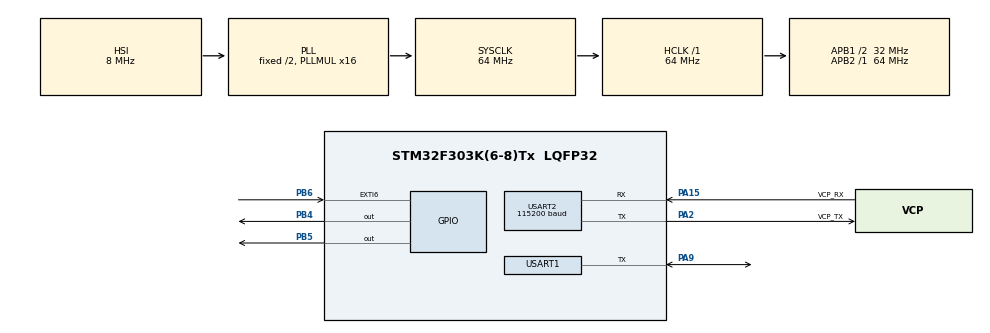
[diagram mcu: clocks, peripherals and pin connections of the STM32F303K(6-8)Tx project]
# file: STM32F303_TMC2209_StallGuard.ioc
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Mcu.Family=STM32F3
Mcu.Name=STM32F303K(6-8)Tx
Mcu.Package=LQFP32
NVIC.EXTI9_5_IRQn=true\:1\:0\:true\:false\:true\:true\:true\:true
NVIC.PriorityGroup=NVIC_PRIORITYGROUP_4
NVIC.TIM2_IRQn=true\:2\:0\:true\:false\:true\:true\:true\:true
NVIC.TIM3_IRQn=true\:3\:0\:true\:false\:true\:true\:true\:true
NVIC.USART2_IRQn=true\:0\:0\:false\:false\:true\:true\:true\:true
PA13.GPIO_Label=SWDIO
PA13.Mode=Serial_Wire
PA13.Signal=SYS_JTMS-SWDIO
PA14.GPIO_Label=SWCLK
PA14.Mode=Serial_Wire
PA14.Signal=SYS_JTCK-SWCLK
PA15.GPIO_Label=VCP_RX
PA15.Mode=Asynchronous
PA15.Signal=USART2_RX
PA2.GPIO_Label=VCP_TX
PA2.Mode=Asynchronous
PA2.Signal=USART2_TX
PA9.Mode=Half_duplex(single_wire_mode)
PA9.Signal=USART1_TX
PB4.Signal=GPIO_Output
PB5.Signal=GPIO_Output
PB6.GPIO_ModeDefaultEXTI=GPIO_MODE_IT_RISING_FALLING
PB6.Signal=GPXTI6
PF0\ /\ OSC_IN.GPIO_Label=MCO
PF0\ /\ OSC_IN.Signal=RCC_OSC_IN
ProjectManager.HeapSize=0x200
ProjectManager.StackSize=0x400
ProjectManager.TargetToolchain=STM32CubeIDE
RCC.AHBFreq_Value=64000000
RCC.APB1CLKDivider=RCC_HCLK_DIV2
RCC.APB1Freq_Value=32000000
RCC.APB1TimFreq_Value=64000000
RCC.APB2Freq_Value=64000000
RCC.APB2TimFreq_Value=64000000
RCC.CortexFreq_Value=64000000
RCC.HCLKFreq_Value=64000000
RCC.HSE_VALUE=8000000
RCC.HSI_VALUE=8000000
RCC.PLLMUL=RCC_PLL_MUL16
RCC.SYSCLKFreq_VALUE=64000000
RCC.SYSCLKSourceVirtual=RCC_SYSCLKSOURCE_PLLCLK
TIM2.AutoReloadPreload=TIM_AUTORELOAD_PRELOAD_ENABLE
TIM2.Period=500-1
TIM2.Prescaler=640-1
TIM3.Channel-Output\ Compare1\ No\ Output=TIM_CHANNEL_1
TIM3.Prescaler=640-1
USART1.BaudRate=115200
USART1.VirtualMode-Half_duplex(single_wire_mode)=VM_ASYNC
USART2.BaudRate=115200
USART2.VirtualMode-Asynchronous=VM_ASYNC
VP_TIM2_VS_ClockSourceINT.Mode=Internal
VP_TIM3_VS_ClockSourceINT.Mode=Internal
VP_TIM3_VS_no_output1.Mode=Output Compare1 No Output
board=NUCLEO-F303K8

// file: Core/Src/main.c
/* USER CODE BEGIN Header */
/**
  ******************************************************************************
  * @file           : main.c
  * @brief          : Main program body
  ******************************************************************************
  * @attention
  *
  * Copyright (c) 2022 STMicroelectronics.
  * All rights reserved.
  *
  * This software is licensed under terms that can be found in the LICENSE file
  * in the root directory of this software component.
  * If no LICENSE file comes with this software, it is provided AS-IS.
  *
  ******************************************************************************
  */
/* USER CODE END Header */
#include "main.h"

/* USER CODE BEGIN Includes */
#include <stdio.h>
#include "tmc/ic/TMC2209/TMC2209.h"
#include <math.h>

/* USER CODE END Includes */

/* USER CODE BEGIN PTD */
typedef struct {
	float acceleration;
	volatile unsigned int minStepInterval;
	void (*dirFunc)(int);
	void (*stepFunc)();

	uint8_t homing;
	unsigned int c0;
	volatile int stepPosition;

	volatile int dir; // 1 or -1
	volatile int dir_inv; //set 1 to reverse the dir

	volatile int pull_off; //set pull_off distance

	volatile int seeking_vel;
	volatile int homing_vel;

	volatile unsigned int totalSteps;

	volatile char movementDone;
	volatile unsigned int rampUpStepCount;
	volatile unsigned int n; // index
	volatile float d; // current interval length
	volatile unsigned long di; // d -> unsigned  di
	volatile unsigned int stepCount;

}stepperInfo;   //stepperInfo型の構造体にメンバを格納

/* USER CODE END PTD */

/* USER CODE BEGIN PD */
#define TMC2209_CRC(data, length) tmc_CRC8(data, length, 1)

//#define NUM_STEPPERS 1

/* USER CODE END PD */

 TIM_HandleTypeDef htim2;
TIM_HandleTypeDef htim3;

UART_HandleTypeDef huart1;
UART_HandleTypeDef huart2;

/* USER CODE BEGIN PV */
//static TMC2209TypeDef TMC2209; //TMC2209の設定などの定義
//static ConfigurationTypeDef *TMC2209_config; //TMC2209の設定
TMC2209TypeDef TMC2209; //TMC2209の設定などの定義
ConfigurationTypeDef TMC2209_config; //TMC2209の設定

volatile stepperInfo steppers[1];    //stepperInfo型の配列stepperにNUM_STEPPERSで定義した値を代入
uint8_t end_stop_state = 0;
uint8_t homing_flag = 0;

/* USER CODE END PV */

void SystemClock_Config(void);
static void MX_GPIO_Init(void);
static void MX_USART2_UART_Init(void);
static void MX_USART1_UART_Init(void);
static void MX_TIM3_Init(void);
static void MX_TIM2_Init(void);
/* USER CODE BEGIN PFP */
//static void periodicJob(uint32_t tick);
static uint8_t reset(void);
static uint8_t restore(void);
//static TMC2209TypeDef TMC2209;

/* USER CODE END PFP */

/* USER CODE BEGIN 0 */

/*void HAL_TIM_PeriodElapsedCallback(TIM_HandleTypeDef *htim)
{
    if (htim == &htim3){ //htim3に設定したタイマー割り込みの時間で発火する
        HAL_GPIO_TogglePin(GPIOB, GPIO_PIN_5);//ピンの出力を切り替え
    }
}*/
void tmc2209_readWriteArray(uint8_t channel, uint8_t *data, size_t writeLength, size_t readLength)
{
	//set your uart read write
	//UART_readWrite(channelToUART(channel), data, writeLength, readLength);
	HAL_HalfDuplex_EnableTransmitter(&huart1);
	HAL_UART_Transmit(&huart1, data, writeLength,3000);

	if(readLength > 0){
		HAL_HalfDuplex_EnableReceiver(&huart1);
		HAL_UART_Receive(&huart1, data, readLength, 3000);
	}
}

uint8_t tmc2209_CRC8(uint8_t *data, size_t length)
{
	return TMC2209_CRC(data, length);
}

static uint8_t reset()
{
	//StepDir_init(STEPDIR_PRECISION);
	//StepDir_setPins(0, Pins.STEP, Pins.DIR, Pins.DIAG);

	return tmc2209_reset(&TMC2209);
}

static uint8_t restore()
{
	return tmc2209_restore(&TMC2209);
}

void TMC2209_INIT()
{
	tmc_fillCRC8Table(0x07, true, 1);

	TMC2209_config.reset = reset;
	TMC2209_config.restore = restore;
	tmc2209_init(&TMC2209, 0, 0, &TMC2209_config, &tmc2209_defaultRegisterResetState[0]);

	//restore();
}

static inline TMC2209TypeDef *motorToIC(uint8_t motor)
{
	UNUSED(motor);

	return &TMC2209;
}

void HAL_GPIO_EXTI_Callback(uint16_t GPIO_Pin)
{
	//stepper 0 end stop senssor
	if(GPIO_Pin == GPIO_PIN_6 ){
		if(!HAL_GPIO_ReadPin(GPIOB, GPIO_PIN_6)){
			end_stop_state |= 1;
		}
		if(HAL_GPIO_ReadPin(GPIOB, GPIO_PIN_6)){
			end_stop_state &= ~1;
		}
	}
}

void Step0(){                                       //step pin
	//pull+

	HAL_GPIO_WritePin(GPIOB, GPIO_PIN_5, GPIO_PIN_RESET);
	HAL_GPIO_WritePin(GPIOB, GPIO_PIN_5, GPIO_PIN_SET);
}

void Dir0(int dir){
	HAL_GPIO_WritePin(GPIOB, GPIO_PIN_4, dir); //Dir0関数にdirピンを指定して格納
}

void resetStepperInfo(stepperInfo* si){    //resetStepperInfo関数に引数をstepperInfo構造隊にポイント型変数siとして与える
	si->n = 0;  //変数*siがメンバnにアクセス.した値に0を代入する
	si->d = 0;
	si->di = 0;
	si->stepCount = 0;
	si->rampUpStepCount = 0;
	si->totalSteps = 0;
	si->stepPosition = 0;
	si->movementDone = 0;
}

void resetStepper(volatile stepperInfo* si){    //resetStepper関数に引数をstepperInfo構造隊にポイント型変数siとして与える
	si->c0 = si->acceleration;      //変数*siがメンバc0にアクセス.した値に変数*siがメンバaccelerationにアクセス.した値を代入する
	si->d = si->c0;
	si->di = si->d;
	si->stepCount = 0;
	si->n = 0;
	si->rampUpStepCount = 0;
	si->movementDone = 0;
}

volatile uint8_t remainingSteppersFlag = 0; //remainingSteppersFlagをuint8_t型で定義し、初期化

void prepareAbsoluteMovement(int absolute_steps){   //prepareAbsoluteMovementで与えられたステップ数だけモータを回す(main文から）
	printf("absolute_steps:%d\r\n",absolute_steps);
	volatile stepperInfo* si = &steppers[0];	//steppers[0]のアドレスをstepperInfo* si に代入
	int steps = absolute_steps - si->stepPosition;	//目標値からstepPositionを引いた値（stepposition=毎ステップカウントされるdirの値)
	printf("steps:%d\r\n",steps);
	if(steps == 0){
					return;
				}
	si->dirFunc( steps < 0 ? 1 : 0);
	si->dir = steps > 0 ? 1:-1;
	//printf("prepareAbsoluteMovement\r\n");

	si->totalSteps = abs(steps);	//stepsの値をアブソリュートでtotalstepsに格納
	printf("steps:%d\r\n",si->totalSteps);

	resetStepper(si);
	printf("steps:%d\r\n",steps);
	remainingSteppersFlag |= (1 << 0);
}

volatile uint8_t nextStepperFlag = 0;

void setNextInterruptInterval(){
	unsigned int mind = 999999;

			if( (remainingSteppersFlag) && steppers[0].di < mind ){
				mind = steppers[0].di;
			}
		nextStepperFlag = 0;
			if( 1 && steppers[0].di == mind ){
				nextStepperFlag |= 1;
			}

			if (remainingSteppersFlag == 0){
			__HAL_TIM_SET_COMPARE(&htim3, TIM_CHANNEL_1, 65500);
			}

		__HAL_TIM_SET_COMPARE(&htim3, TIM_CHANNEL_1, mind);
		//printf("nownompare:%d\r\n",mind);

}

void currentcheck(){
	int32_t current_value = 0;
	int32_t DIAG_value = 0;
	int32_t tstep_value = 0;
	int32_t SGTHRS_value = 0;

//
//	tstep_value=TMC2209_FIELD_READ(&TMC2209, TMC2209_TSTEP, TMC2209_TSTEP_MASK, TMC2209_TSTEP_SHIFT);
//	printf("tstep: %ld\r\n", tstep_value);
//	tmc2209_periodicJob(&TMC2209, HAL_GetTick());

//	SGTHRS_value = tmc2209_readInt(&TMC2209, TMC2209_SGTHRS);
//	printf("SGTHRS: %d\r\n", SGTHRS_value);

	current_value=tmc2209_readInt(&TMC2209, TMC2209_SG_RESULT);	//保持トルクの設定
	printf("SG_RESULT : %ld\r\n", current_value);

//	current_value = 3;
//	TMC2209_FIELD_UPDATE(&TMC2209, TMC2209_GCONF, TMC2209_DIAG_MASK, TMC2209_DIAG_SHIFT,toff_value);
//	tmc2209_periodicJob(&TMC2209, HAL_GetTick());

//	DIAG_value=TMC2209_FIELD_READ(&TMC2209, TMC2209_GCONF, TMC2209_DIAG_MASK, TMC2209_DIAG_SHIFT);
//	printf("DIAG : %ld\r\n", DIAG_value);
//	tmc2209_periodicJob(&TMC2209, HAL_GetTick());

}

void HAL_TIM_OC_DelayElapsedCallback(TIM_HandleTypeDef *htim){      //指定したコンペアを超えた時発火
	//HAL_TIM_OC_Stop_IT(&htim3, TIM_CHANNEL_1);
	if(htim == &htim3){
	__HAL_TIM_SET_COMPARE(&htim3, TIM_CHANNEL_1, 65500);			//コンペアを65500にセット
				//nextStepperFlagが真でない(0なら)
		//printf("steppers:%ld \r\n",steppers[0].di);
		volatile stepperInfo* s = &steppers[0];
		if( (s->stepCount) < (s->totalSteps) ){		//1周ごとにカウントしたstepCountがabs(steps)より小さかったら==動作が終了するまで
			s->stepFunc();
			s->stepCount++;							//カウントし続ける
			s->stepPosition += s->dir;		//dir(+もしくはー(dirの向き）を加算してstepPositionに格納
			if ( (s->stepCount) >= (s->totalSteps) ){	//stepCountがtotalStepsを超えたとき
				s->movementDone = 1;	//movementDoneを1にする
				remainingSteppersFlag &= ~1;

			}
		}
		setNextInterruptInterval();
		__HAL_TIM_SET_COUNTER(&htim3, 0);

	}
}
void HAL_TIM_PeriodElapsedCallback(TIM_HandleTypeDef *htim)
{
    if (htim == &htim2){
//		currentcheck();

    }
}

void sensorStateInit(){							//割り込みリセット
	if( ! HAL_GPIO_ReadPin(GPIOB, GPIO_PIN_6)){	//割り込みピンが真でない(1でない=0なら)
		end_stop_state |= 1;					//end_stop_stateに左辺か右辺が1なら1を代入
	}
}

void runAndWait(){
	setNextInterruptInterval();
	while(remainingSteppersFlag);
}

void TMCsetup(){
	int32_t mstep_value = 0;
	int32_t toff_value = 0;
	int32_t microstep_value = 0;
	int32_t IRUN_value = 0;
	int32_t IHOLD_value = 0;
	int32_t IHOLDDELAY_value= 0;
	int32_t buffer = 0;
	int32_t stallgard_setup_value=0;
	int32_t TCOOLTHRS_value=0;
	int32_t buffer_TPWMTHRS=0;
	int32_t TPWMTHRS_value=0;
	int32_t SEMIN_value=0;
	int32_t SEMAX_value=0;
	int32_t SEIMIN_scale_value=0;
//	int32_t FCLKTRIM_scale_value=0;

//	FCLKTRIM_scale_value=TMC2209_FIELD_READ(&TMC2209, TMC2209_FACTORY_CONF, TMC2209_FCLKTRIM_MASK, TMC2209_FCLKTRIM_SHIFT);
//	FCLKTRIM_scale_value=31;
//	TMC2209_FIELD_UPDATE(&TMC2209, TMC2209_FACTORY_CONF, TMC2209_FCLKTRIM_MASK, TMC2209_FCLKTRIM_SHIFT, FCLKTRIM_scale_value);
//	printf("FCLKTRIM: %ld\r\n", FCLKTRIM_scale_value);

	mstep_value = TMC2209_FIELD_READ(&TMC2209, TMC2209_GCONF, TMC2209_MSTEP_REG_SELECT_MASK,TMC2209_MSTEP_REG_SELECT_SHIFT);	//uartでのmicrostepの有効化
	printf("mstep_before : %ld\r\n", mstep_value);
	mstep_value = 1;
	TMC2209_FIELD_UPDATE(&TMC2209, TMC2209_GCONF, TMC2209_MSTEP_REG_SELECT_MASK, TMC2209_MSTEP_REG_SELECT_SHIFT,mstep_value);
	tmc2209_periodicJob(&TMC2209, HAL_GetTick());
	mstep_value=TMC2209_FIELD_READ(&TMC2209, TMC2209_GCONF, TMC2209_MSTEP_REG_SELECT_MASK, TMC2209_MSTEP_REG_SELECT_SHIFT);
	printf("mstep_after : %ld\r\n", mstep_value);

	toff_value=TMC2209_FIELD_READ(&TMC2209, TMC2209_CHOPCONF, TMC2209_TOFF_MASK, TMC2209_TOFF_SHIFT);	//保持トルクの設定
	printf("toff_before : %ld\r\n", toff_value);
	toff_value = 4;
	TMC2209_FIELD_UPDATE(&TMC2209, TMC2209_CHOPCONF, TMC2209_TOFF_MASK, TMC2209_TOFF_SHIFT,toff_value);
	tmc2209_periodicJob(&TMC2209, HAL_GetTick());
	toff_value=TMC2209_FIELD_READ(&TMC2209, TMC2209_CHOPCONF, TMC2209_TOFF_MASK, TMC2209_TOFF_SHIFT);
	printf("toff_after : %ld\r\n", toff_value);

	microstep_value = 256 >> TMC2209_FIELD_READ(&TMC2209, TMC2209_CHOPCONF, TMC2209_MRES_MASK, TMC2209_MRES_SHIFT);	//microstepの設定
	printf("microstep_before : %ld\r\n", microstep_value);
	microstep_value = 4;
	TMC2209_FIELD_UPDATE(&TMC2209, TMC2209_CHOPCONF, TMC2209_MRES_MASK, TMC2209_MRES_SHIFT,microstep_value);
	tmc2209_periodicJob(&TMC2209, HAL_GetTick());
	microstep_value = 256 >> TMC2209_FIELD_READ(&TMC2209, TMC2209_CHOPCONF, TMC2209_MRES_MASK, TMC2209_MRES_SHIFT);
	printf("microstep_after : %ld\r\n", microstep_value);

	IHOLD_value=3;																							//モーター待機時の電流の設定
	TMC2209_FIELD_UPDATE(&TMC2209,TMC2209_IHOLD_IRUN, TMC2209_IHOLD_MASK, TMC2209_IHOLD_SHIFT, IHOLD_value);
	tmc2209_periodicJob(&TMC2209, HAL_GetTick());
	HAL_Delay(100);
	IHOLD_value=TMC2209_FIELD_READ(&TMC2209, TMC2209_IHOLD_IRUN, TMC2209_IHOLD_MASK, TMC2209_IHOLD_SHIFT);	//保持電流
	printf("IHOLD: %ld\r\n", IHOLD_value);

	IRUN_value = 18;
	TMC2209_FIELD_UPDATE(&TMC2209, TMC2209_IHOLD_IRUN, TMC2209_IRUN_MASK, TMC2209_IRUN_SHIFT, IRUN_value);	//実行電流
	tmc2209_periodicJob(&TMC2209, HAL_GetTick());
	HAL_Delay(100);
	IHOLD_value=TMC2209_FIELD_READ(&TMC2209, TMC2209_IHOLD_IRUN, TMC2209_IRUN_MASK, TMC2209_IRUN_SHIFT);
	printf("IRUN: %ld\r\n", IRUN_value);

	IHOLDDELAY_value=4;
	TMC2209_FIELD_UPDATE(&TMC2209, TMC2209_IHOLD_IRUN, TMC2209_IHOLDDELAY_MASK, TMC2209_IHOLDDELAY_SHIFT, IHOLDDELAY_value);
	IHOLDDELAY_value=TMC2209_FIELD_READ(&TMC2209, TMC2209_IHOLD_IRUN, TMC2209_IHOLDDELAY_MASK, TMC2209_IHOLDDELAY_SHIFT);
	printf("IHOLDDELAY: %ld\r\n", IHOLDDELAY_value);

	stallgard_setup_value=300;											//SG_RESULTと比較して、
	tmc2209_writeInt(&TMC2209, TMC2209_SGTHRS, stallgard_setup_value);
	stallgard_setup_value = tmc2209_readInt(&TMC2209, TMC2209_SGTHRS);
	printf("SGTHRS: %ld\r\n", stallgard_setup_value);
//	buffer = tmc2209_readInt(&TMC2209, TMC2209_TCOOLTHRS);
	TCOOLTHRS_value=1500;
////	TCOOLTHRS_value = MIN(0xFFFFF, (1<<24) / ((buffer) ? buffer : 1));
////	TCOOLTHRS_value -= (TCOOLTHRS_value) >> 3;
////				if (TCOOLTHRS_value)
////				{
////					TCOOLTHRS_value= MIN(0x000FFFFF, (1<<24) / (TCOOLTHRS_value));
////				}
////				else
////				{
////					TCOOLTHRS_value = 0x000FFFFF;
////				}
	tmc2209_writeInt(&TMC2209, TMC2209_TCOOLTHRS, TCOOLTHRS_value);
	printf("TCOOLTHRS: %ld\r\n", TCOOLTHRS_value);

//	buffer_TPWMTHRS=0;
//	buffer_TPWMTHRS = tmc2209_readInt(&TMC2209, TMC2209_TPWMTHRS);
//	TPWMTHRS_value = MIN(0xFFFFF, (1<<24) / ((buffer_TPWMTHRS) ? buffer_TPWMTHRS : 1));
//
//	TPWMTHRS_value = MIN(0xFFFFF, (1<<24) / ((TPWMTHRS_value) ? TPWMTHRS_value : 1));

	TPWMTHRS_value=100;
	tmc2209_writeInt(&TMC2209, TMC2209_TPWMTHRS, TPWMTHRS_value);
	printf("TPWMTHRS: %ld\r\n", TPWMTHRS_value);

	//SEMIN_value = TMC2209_FIELD_READ(&TMC2209, TMC2209_COOLCONF, TMC2209_SEIMIN_MASK, TMC2209_SEIMIN_SHIFT);

	SEMIN_value=1;	//IRUNのスケールを1/4
	TMC2209_FIELD_UPDATE(&TMC2209, TMC2209_COOLCONF, TMC2209_SEIMIN_MASK, TMC2209_SEIMIN_SHIFT, SEMIN_value);
	printf("SEMIN: %ld\r\n", SEMIN_value);
//
//	//SEMAX_value = TMC2209_FIELD_READ(&TMC2209, TMC2209_COOLCONF, TMC2209_SEMAX_MASK, TMC2209_SEMAX_SHIFT);
	SEMAX_value = 10;
	TMC2209_FIELD_UPDATE(&TMC2209, TMC2209_COOLCONF, TMC2209_SEIMIN_MASK, TMC2209_SEIMIN_SHIFT, SEMIN_value);
	printf("SEMAX: %ld\r\n", SEMAX_value);

	SEIMIN_scale_value=1;
	TMC2209_FIELD_UPDATE(&TMC2209, TMC2209_COOLCONF, TMC2209_SEIMIN_MASK, TMC2209_SEIMIN_SHIFT, SEIMIN_scale_value);
	printf("SEIMIN_scal: %ld\r\n", SEIMIN_scale_value);

}

uint8_t uartflag1=0;
void motorrotate()
{
	//char motorrotate_TM[] ="motorrotate_TM\r\n";
	//HAL_UART_Transmit(&huart2,(uint8_t *)motorrotate_TM,sizeof(motorrotate_TM),3000);

}

void HAL_UART_RxCpltCallback(UART_HandleTypeDef *huart)
{
//	char rxbuf[1];
//	HAL_UART_Receive_IT(&huart2,(uint8_t *)rxbuf, 1);
//	HAL_UART_Transmit(&huart2,(uint8_t *)rxbuf,sizeof(rxbuf),3000);
	//motorrotate();
	uartflag1 = 1;
	printf("uart_timer\r\n");

}

/* USER CODE END 0 */

int main(void)
{
  /* USER CODE BEGIN 1 */
	setbuf(stdout, NULL);
	//uint8_t buffer[256];
	//char rxbuf[1];
	char start[] ="1:front,2:back\r\n";
	char front[] ="front turn\r\n";
	char back[] ="back turn\r\n";
	char nonans[] ="Not Understand \r\n";
	char rxbuf[1];

  /* USER CODE END 1 */

  /* MCU Configuration--------------------------------------------------------*/

  /* Reset of all peripherals, Initializes the Flash interface and the Systick. */
  HAL_Init();

  /* Configure the system clock */
  SystemClock_Config();

  /* Initialize all configured peripherals */
  MX_GPIO_Init();
  MX_USART2_UART_Init();
  MX_USART1_UART_Init();
  MX_TIM3_Init();
  MX_TIM2_Init();
  /* USER CODE BEGIN 2 */
  //int getserial=0;
  TMC2209_INIT();
  TMCsetup();
  printf("Hello\r\n");
  HAL_UART_Transmit(&huart2,(uint8_t *)start,sizeof(start),3000);

  //printf("Start \r\n");

  //uint8_t rxbuf[1];
   //int32_t *value=3;

   //TMC2209_FIELD_UPDATE(&TMC2209, TMC2209_CHOPCONF, TMC2209_MRES_MASK, TMC2209_MRES_SHIFT, 3 );
   //Set stepper 1
   steppers[0].dirFunc = Dir0;
   steppers[0].stepFunc = Step0;
   steppers[0].acceleration = 100-1;
   steppers[0].minStepInterval = 100;
   steppers[0].homing = 0;
   steppers[0].dir_inv = 1;
   steppers[0].seeking_vel = 100;
   steppers[0].homing_vel = 200;
   steppers[0].pull_off = 100;
     //Stepper 1 enable
    //pull+
   //HAL_GPIO_WritePin(GPIOB, GPIO_PIN_10, GPIO_PIN_SET);  //ena pin
    //pull-w
    //HAL_GPIO_WritePin(GPIOB, GPIO_PIN_10, GPIO_PIN_RESET);

//   HAL_TIM_Base_Start_IT(&htim2);
   HAL_TIM_OC_Start_IT(&htim3, TIM_CHANNEL_1);

   //HAL_UART_Transmit(&huart2,(uint8_t *)rxbuf,sizeof(rxbuf),3000);

	rxbuf[0]=0;
	uartflag1=0;
  /* USER CODE END 2 */

  /* Infinite loop */
  while (1)
  {

    /* USER CODE BEGIN 3 */
	  //example read register value
	  //int32_t value = 0;
	  HAL_UART_Receive_IT(&huart2,(uint8_t *)rxbuf, 1);
//	  while(uartflag1==0){
//		  ;
//	  }
	  HAL_UART_Transmit(&huart2,(uint8_t *)rxbuf,sizeof(rxbuf),3000);
	  if(uartflag1==1){
		  if (rxbuf[0] != 0){
			  if(rxbuf[0] == '1'){
				  //HAL_UART_Transmit_IT(&huart2,(uint8_t *)front, sizeof(front));
				  printf("1:start\r\n");
				  prepareAbsoluteMovement(10000);
				  runAndWait();
				  HAL_Delay(100);
				  prepareAbsoluteMovement(0);
				  runAndWait();
				  HAL_Delay(100);
				  printf("1:end\r\n");
				  rxbuf[0]=0;

			  }
			  else if(rxbuf[0] == '2'){
				  //HAL_UART_Transmit_IT(&huart2,(uint8_t *)back, sizeof(back));
				  runAndWait();
				  HAL_Delay(100);

				  rxbuf[0]=0;
			  }
			  else{
				  HAL_UART_Transmit_IT(&huart2,(uint8_t *)nonans, sizeof(nonans));
				  rxbuf[0]=0;
			  }
			  uartflag1=0;
		  }
	  }

	  //HAL_Delay(100);
  }

  /* USER CODE END 3 */
}

void SystemClock_Config(void)
{
  RCC_OscInitTypeDef RCC_OscInitStruct = {0};
  RCC_ClkInitTypeDef RCC_ClkInitStruct = {0};
  RCC_PeriphCLKInitTypeDef PeriphClkInit = {0};

  /** Initializes the RCC Oscillators according to the specified parameters
  * in the RCC_OscInitTypeDef structure.
  */
  RCC_OscInitStruct.OscillatorType = RCC_OSCILLATORTYPE_HSI;
  RCC_OscInitStruct.HSIState = RCC_HSI_ON;
  RCC_OscInitStruct.HSICalibrationValue = RCC_HSICALIBRATION_DEFAULT;
  RCC_OscInitStruct.PLL.PLLState = RCC_PLL_ON;
  RCC_OscInitStruct.PLL.PLLSource = RCC_PLLSOURCE_HSI;
  RCC_OscInitStruct.PLL.PLLMUL = RCC_PLL_MUL16;
  if (HAL_RCC_OscConfig(&RCC_OscInitStruct) != HAL_OK)
  {
    Error_Handler();
  }

  /** Initializes the CPU, AHB and APB buses clocks
  */
  RCC_ClkInitStruct.ClockType = RCC_CLOCKTYPE_HCLK|RCC_CLOCKTYPE_SYSCLK
                              |RCC_CLOCKTYPE_PCLK1|RCC_CLOCKTYPE_PCLK2;
  RCC_ClkInitStruct.SYSCLKSource = RCC_SYSCLKSOURCE_PLLCLK;
  RCC_ClkInitStruct.AHBCLKDivider = RCC_SYSCLK_DIV1;
  RCC_ClkInitStruct.APB1CLKDivider = RCC_HCLK_DIV2;
  RCC_ClkInitStruct.APB2CLKDivider = RCC_HCLK_DIV1;

  if (HAL_RCC_ClockConfig(&RCC_ClkInitStruct, FLASH_LATENCY_2) != HAL_OK)
  {
    Error_Handler();
  }
  PeriphClkInit.PeriphClockSelection = RCC_PERIPHCLK_USART1;
  PeriphClkInit.Usart1ClockSelection = RCC_USART1CLKSOURCE_PCLK1;
  if (HAL_RCCEx_PeriphCLKConfig(&PeriphClkInit) != HAL_OK)
  {
    Error_Handler();
  }
}

static void MX_TIM2_Init(void)
{

  TIM_ClockConfigTypeDef sClockSourceConfig = {0};
  TIM_MasterConfigTypeDef sMasterConfig = {0};

  htim2.Instance = TIM2;
  htim2.Init.Prescaler = 640-1;
  htim2.Init.CounterMode = TIM_COUNTERMODE_UP;
  htim2.Init.Period = 500-1;
  htim2.Init.ClockDivision = TIM_CLOCKDIVISION_DIV1;
  htim2.Init.AutoReloadPreload = TIM_AUTORELOAD_PRELOAD_ENABLE;
  if (HAL_TIM_Base_Init(&htim2) != HAL_OK)
  {
    Error_Handler();
  }
  sClockSourceConfig.ClockSource = TIM_CLOCKSOURCE_INTERNAL;
  if (HAL_TIM_ConfigClockSource(&htim2, &sClockSourceConfig) != HAL_OK)
  {
    Error_Handler();
  }
  sMasterConfig.MasterOutputTrigger = TIM_TRGO_RESET;
  sMasterConfig.MasterSlaveMode = TIM_MASTERSLAVEMODE_DISABLE;
  if (HAL_TIMEx_MasterConfigSynchronization(&htim2, &sMasterConfig) != HAL_OK)
  {
    Error_Handler();
  }

}

static void MX_TIM3_Init(void)
{

  TIM_ClockConfigTypeDef sClockSourceConfig = {0};
  TIM_MasterConfigTypeDef sMasterConfig = {0};
  TIM_OC_InitTypeDef sConfigOC = {0};

  htim3.Instance = TIM3;
  htim3.Init.Prescaler = 640-1;
  htim3.Init.CounterMode = TIM_COUNTERMODE_UP;
  htim3.Init.Period = 65535;
  htim3.Init.ClockDivision = TIM_CLOCKDIVISION_DIV1;
  htim3.Init.AutoReloadPreload = TIM_AUTORELOAD_PRELOAD_DISABLE;
  if (HAL_TIM_Base_Init(&htim3) != HAL_OK)
  {
    Error_Handler();
  }
  sClockSourceConfig.ClockSource = TIM_CLOCKSOURCE_INTERNAL;
  if (HAL_TIM_ConfigClockSource(&htim3, &sClockSourceConfig) != HAL_OK)
  {
    Error_Handler();
  }
  if (HAL_TIM_OC_Init(&htim3) != HAL_OK)
  {
    Error_Handler();
  }
  sMasterConfig.MasterOutputTrigger = TIM_TRGO_RESET;
  sMasterConfig.MasterSlaveMode = TIM_MASTERSLAVEMODE_DISABLE;
  if (HAL_TIMEx_MasterConfigSynchronization(&htim3, &sMasterConfig) != HAL_OK)
  {
    Error_Handler();
  }
  sConfigOC.OCMode = TIM_OCMODE_TIMING;
  sConfigOC.Pulse = 0;
  sConfigOC.OCPolarity = TIM_OCPOLARITY_HIGH;
  sConfigOC.OCFastMode = TIM_OCFAST_DISABLE;
  if (HAL_TIM_OC_ConfigChannel(&htim3, &sConfigOC, TIM_CHANNEL_1) != HAL_OK)
  {
    Error_Handler();
  }

}

static void MX_USART1_UART_Init(void)
{

  huart1.Instance = USART1;
  huart1.Init.BaudRate = 115200;
  huart1.Init.WordLength = UART_WORDLENGTH_8B;
  huart1.Init.StopBits = UART_STOPBITS_1;
  huart1.Init.Parity = UART_PARITY_NONE;
  huart1.Init.Mode = UART_MODE_TX_RX;
  huart1.Init.HwFlowCtl = UART_HWCONTROL_NONE;
  huart1.Init.OverSampling = UART_OVERSAMPLING_16;
  huart1.Init.OneBitSampling = UART_ONE_BIT_SAMPLE_DISABLE;
  huart1.AdvancedInit.AdvFeatureInit = UART_ADVFEATURE_NO_INIT;
  if (HAL_HalfDuplex_Init(&huart1) != HAL_OK)
  {
    Error_Handler();
  }

}

static void MX_USART2_UART_Init(void)
{

  huart2.Instance = USART2;
  huart2.Init.BaudRate = 115200;
  huart2.Init.WordLength = UART_WORDLENGTH_8B;
  huart2.Init.StopBits = UART_STOPBITS_1;
  huart2.Init.Parity = UART_PARITY_NONE;
  huart2.Init.Mode = UART_MODE_TX_RX;
  huart2.Init.HwFlowCtl = UART_HWCONTROL_NONE;
  huart2.Init.OverSampling = UART_OVERSAMPLING_16;
  huart2.Init.OneBitSampling = UART_ONE_BIT_SAMPLE_DISABLE;
  huart2.AdvancedInit.AdvFeatureInit = UART_ADVFEATURE_NO_INIT;
  if (HAL_UART_Init(&huart2) != HAL_OK)
  {
    Error_Handler();
  }

}

static void MX_GPIO_Init(void)
{
  GPIO_InitTypeDef GPIO_InitStruct = {0};

  /* GPIO Ports Clock Enable */
  __HAL_RCC_GPIOF_CLK_ENABLE();
  __HAL_RCC_GPIOA_CLK_ENABLE();
  __HAL_RCC_GPIOB_CLK_ENABLE();

  /*Configure GPIO pin Output Level */
  HAL_GPIO_WritePin(GPIOB, GPIO_PIN_4|GPIO_PIN_5, GPIO_PIN_RESET);

  /*Configure GPIO pins : PB4 PB5 */
  GPIO_InitStruct.Pin = GPIO_PIN_4|GPIO_PIN_5;
  GPIO_InitStruct.Mode = GPIO_MODE_OUTPUT_PP;
  GPIO_InitStruct.Pull = GPIO_NOPULL;
  GPIO_InitStruct.Speed = GPIO_SPEED_FREQ_LOW;
  HAL_GPIO_Init(GPIOB, &GPIO_InitStruct);

  /*Configure GPIO pin : PB6 */
  GPIO_InitStruct.Pin = GPIO_PIN_6;
  GPIO_InitStruct.Mode = GPIO_MODE_IT_RISING_FALLING;
  GPIO_InitStruct.Pull = GPIO_NOPULL;
  HAL_GPIO_Init(GPIOB, &GPIO_InitStruct);

  /* EXTI interrupt init*/
  HAL_NVIC_SetPriority(EXTI9_5_IRQn, 1, 0);
  HAL_NVIC_EnableIRQ(EXTI9_5_IRQn);

}

/* USER CODE BEGIN 4 */
int _write(int file, char *ptr, int len)
{
  HAL_UART_Transmit(&huart2,(uint8_t *)ptr,len,10);
  return len;
}

//int _write(int file, char *ptr, int len)
//{
//  int DataIdx;
//  for(DataIdx=0; DataIdx<len; DataIdx++)
//  {
//    ITM_SendChar(*ptr++);
//  }
//  return len;
//}

/* USER CODE END 4 */

void Error_Handler(void)
{
  __disable_irq();
  while (1)
  {
  }
}
